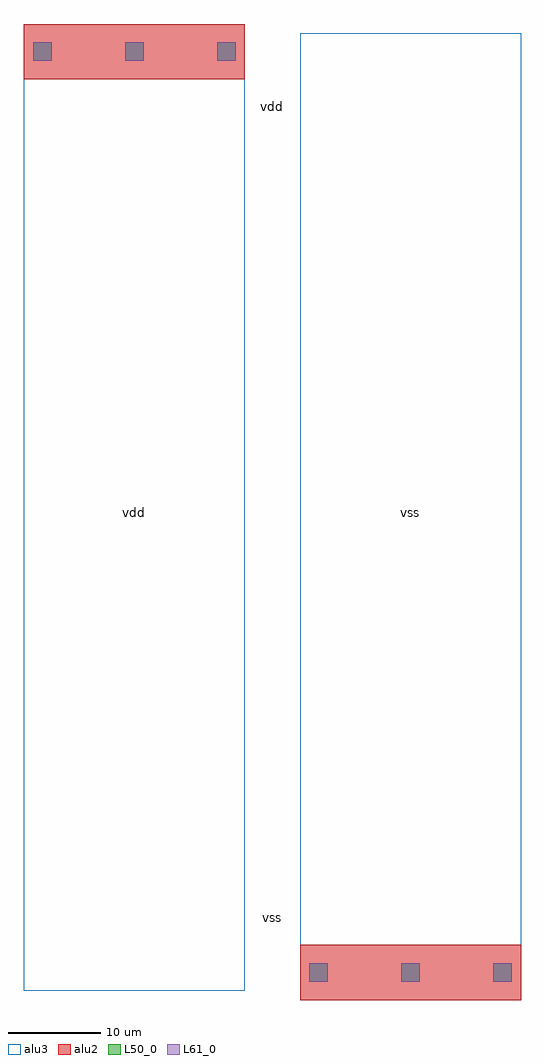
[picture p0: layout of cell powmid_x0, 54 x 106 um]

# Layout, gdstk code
import gdstk
lib = gdstk.Library(unit=1e-6, precision=1e-09)
def R(c, l, rs):  # rectangles x0, y0, x1, y1
    for r in rs: c.add(gdstk.rectangle(r[:2], r[2:], *l))
def A(c, l, x, y, w, h, nx, ny, dx, dy):  # array of equal rectangles
    R(c, l, [(x+i*dx, y+j*dy, x+i*dx+w, y+j*dy+h) for i in range(nx) for j in range(ny)])
L50_0 = (50, 0)
alu2 = (51, 0)
L61_0 = (61, 0)
alu3 = (62, 0)

powmid_x0 = lib.new_cell('powmid_x0')
A(powmid_x0, L50_0, 39, -1, 2, 2, 3, 1, 10, 0)
A(powmid_x0, L50_0, 9, 99, 2, 2, 3, 1, 10, 0)
R(powmid_x0, alu2, [(38,-3,62,3), (8,97,32,103)])
A(powmid_x0, L61_0, 39, -1, 2, 2, 3, 1, 10, 0)
A(powmid_x0, L61_0, 9, 99, 2, 2, 3, 1, 10, 0)
R(powmid_x0, alu3, [(38,-3,62,102), (8,-2,32,103)])
powmid_x0.add(gdstk.Label('vss', (35,6), layer=49, texttype=0))
powmid_x0.add(gdstk.Label('vdd', (35,94), layer=49, texttype=0))
powmid_x0.add(gdstk.Label('vdd', (20,50), layer=62, texttype=0))
powmid_x0.add(gdstk.Label('vss', (50,50), layer=62, texttype=0))

lib.write_gds('powmid_x0.gds')
